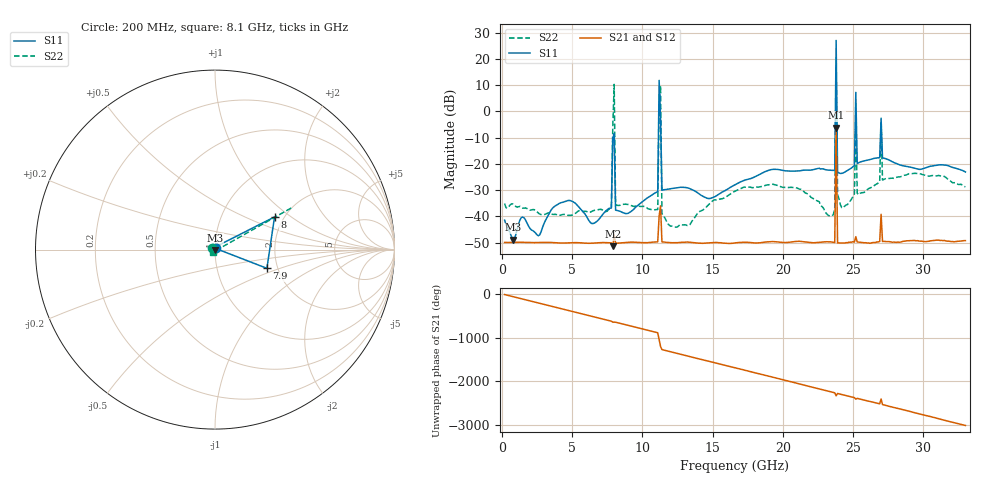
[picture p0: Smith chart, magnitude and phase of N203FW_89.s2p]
# GHZ S RI R 50
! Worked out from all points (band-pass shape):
!   329 points, 200 MHz to 33 GHz, reference 50 ohm
!   highest |S21| = -6.23 dB at 23.8 GHz (marker M1); lowest = -51.4 dB at 7.9 GHz (marker M2)
!   |S21| within 3 dB of the highest: 23.79314 GHz to 23.80683 GHz (13.69 MHz wide, 0.0575 % of centre)
!   lowest |S11| = -49.0 dB at 800 MHz (marker M3), VSWR 1.01, Z = 49.9 - j0.35 ohm
!   |S11| at or under -10 dB: start of sweep to 7.914 GHz; 11.33 GHz to 23.73 GHz (12.4 GHz wide, 70.7 % of centre); 27.05 GHz to end of sweep (the widest 3 of 6)
!   |S22| runs from -44.2 to 16.6 dB; largest |S21 - S12| = 0.02
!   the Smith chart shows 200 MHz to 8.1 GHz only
!   S11 on the Smith chart (normalised r, x): 200 MHz: 1.01, +0.01; 7.9 GHz: 1.75, -0.40; 8 GHz: 1.79, +0.76; 8.1 GHz: 1.00, +0.03
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0.2  0.00556 0.00637  0.00305 -0.000894  0.00306 -0.000887  -0.0144 0.01
0.8  -0.000617 -0.00351  0.00139 -0.00287  0.00138 -0.00287  -0.0134 0.0106
5.7  0.00597 0.0114  -0.000449 -0.00308  -0.000466 -0.00308  0.00621 -0.0108
7.8  -0.009 0.0112  -0.000207 0.0031  -0.000215 0.00311  -0.00831 -0.0124
7.9  0.2892 -0.1043  0.00083 0.00256  0.000815 0.00248  0.4275 0.2333
8  0.3317 0.1821  0.00126 0.00424  0.000678 0.00609  2.816 1.679
8.1  -0.00212 0.013  0.00104 0.0029  0.00105 0.0029  -0.0118 -0.0114
11.1  0.00391 0.0292  -0.00322 -0.00053  -0.00321 -0.000527  -0.0118 0.00651
11.2  2.673 2.838  0.00913 0.00439  0.0167 0.023  -0.7152 -0.89
11.3  0.6552 0.3205  -0.00924 -0.0129  -0.00985 -0.0102  0.2731 3.077
11.4  0.0203 0.0239  -0.00312 0.000887  -0.00312 0.000894  -0.00857 0.00712
16.6  -0.0331 0.0221  -0.00105 0.00293  -0.00105 0.00292  -0.0297 0.00505
22.1  -0.0305 -0.0705  0.00285 0.00134  0.00285 0.00134  0.0192 0.0112
23.7  0.0401 0.0634  -0.000783 -0.00307  -0.000777 -0.00308  0.00955 -0.0105
23.8  18.7 12.53  -0.4839 -0.0628  -0.4864 -0.0636  -1.962 6.475
23.9  0.0579 0.0398  -0.00155 -0.0027  -0.00155 -0.0027  0.00486 -0.0261
25.1  -0.0409 -0.0837  -0.00266 0.00183  -0.00269 0.00184  -0.0249 -0.0093
25.2  2.205 0.6639  -0.00142 0.00383  -0.00122 0.00385  0.3009 0.5182
25.3  -0.076 -0.067  -0.00205 0.00251  -0.00203 0.0025  -0.0273 -0.00357
27  0.484 -0.5636  -0.00477 0.00982  -0.000895 0.00101  -0.2402 0.5565
27.6  0.1137 -0.0281  0.00184 -0.00272  0.00189 -0.00269  -0.0363 0.0382
33  0.018 0.0676  -0.00225 -0.0026  -0.00226 -0.00257  0.0345 0.0116
